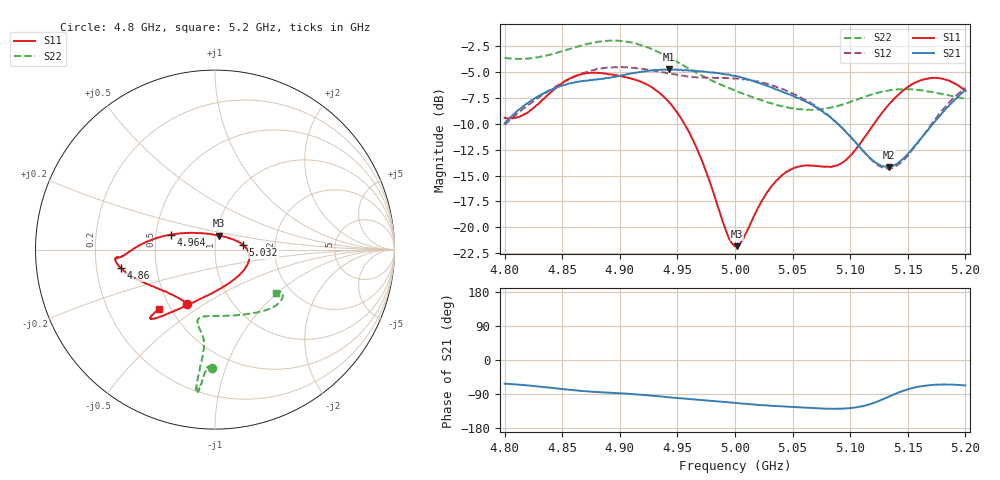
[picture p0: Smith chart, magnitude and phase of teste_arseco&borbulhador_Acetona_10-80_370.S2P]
! Network Analyzer HP8722D
! Hewlett-Packard
! Data name: Linha & Wilkinson
! Saver's name: Rodrigo Anjos
! Comments: Teste da utilização de aquisição
! continua pelo VNA HP8722D
! Time and date: 17/4/2025 17:26
!  Frequency  S11  S21  S12  S22
# HZ  S  MA R 50
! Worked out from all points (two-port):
!   401 points, 4.8 GHz to 5.2 GHz, reference 50 ohm
!   highest |S21| = -4.75 dB at 4.943 GHz (marker M1); lowest = -14.2 dB at 5.134 GHz (marker M2)
!   |S21| within 3 dB of the highest: 4.823 GHz to 5.06 GHz (236.4 MHz wide, 4.78 % of centre); 5.190228 GHz to end of sweep
!   lowest |S11| = -21.8 dB at 5.002 GHz (marker M3), VSWR 1.18, Z = 51.6 + j8.1 ohm
!   |S11| at or under -10 dB: 4.956 GHz to 5.121 GHz (164.8 MHz wide, 3.27 % of centre)
!   |S22| runs from -8.7 to -1.9 dB; largest |S21 - S12| = 0.87
!   S11 on the Smith chart (normalised r, x): 4.8 GHz: 0.62, -0.42; 4.86 GHz: 0.31, -0.09; 4.964 GHz: 0.60, +0.11; 5.032 GHz: 1.37, +0.07; 5.2 GHz: 0.43, -0.36
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4.8e9  0.3382 -117.3  0.3184 -62.6  0.3123 -176.8  0.6587 -91.6
4.819e9  0.3562 -137.5  0.3949 -66.9  0.3834 -176.5  0.653 -93.3
4.86e9  0.5349 -168.9  0.4996 -79.6  0.5316 -180.0  0.7368 -95.6
4.867e9  0.5501 -171.6  0.509 -81.8  0.5527 178.9  0.7566 -95.9
4.9e9  0.539 -175.5  0.5395 -87.7  0.5936 173.0  0.7955 -97.3
4.934e9  0.4484 179.1  0.5753 -96.0  0.5669 169.7  0.7002 -97.5
4.943e9  0.3998 175.0  0.5789 -98.5  0.5522 170.0  0.6618 -97.3
4.964e9  0.2607 161.4  0.5697 -103.8  0.5312 171.7  0.569 -96.5
4.975e9  0.1855 150.1  0.5641 -106.6  0.5276 172.8  0.5279 -96.8
4.993e9  0.09347 110.7  0.5477 -111.3  0.5258 173.9  0.4746 -98.9
5e9  0.08123 82.7  0.5386 -113.2  0.5238 173.9  0.4575 -100.4
5.002e9  0.08101 74.3  0.5368 -113.8  0.5222 173.9  0.4548 -100.7
5.032e9  0.1585 9.5  0.4726 -120.9  0.4858 172.8  0.3965 -103.4
5.048e9  0.19 -5.4  0.4377 -123.5  0.4479 172.1  0.3772 -98.9
5.067e9  0.1989 -25.8  0.3912 -126.6  0.3953 172.1  0.3691 -88.2
5.095e9  0.2083 -74.2  0.2939 -128.2  0.2946 174.6  0.3942 -66.5
5.12e9  0.3123 -111.3  0.2097 -113.6  0.2073 -168.8  0.44 -50.0
5.134e9  0.394 -122.0  0.1959 -96.0  0.192 -149.1  0.4589 -43.3
5.146e9  0.4585 -127.5  0.2145 -81.4  0.2099 -131.9  0.4653 -38.9
5.168e9  0.5242 -132.6  0.2979 -66.9  0.3018 -113.1  0.4525 -33.5
5.184e9  0.515 -133.7  0.3791 -64.8  0.3904 -109.2  0.436 -32.5
5.2e9  0.4563 -133.6  0.4606 -67.3  0.4718 -109.4  0.4174 -35.2
